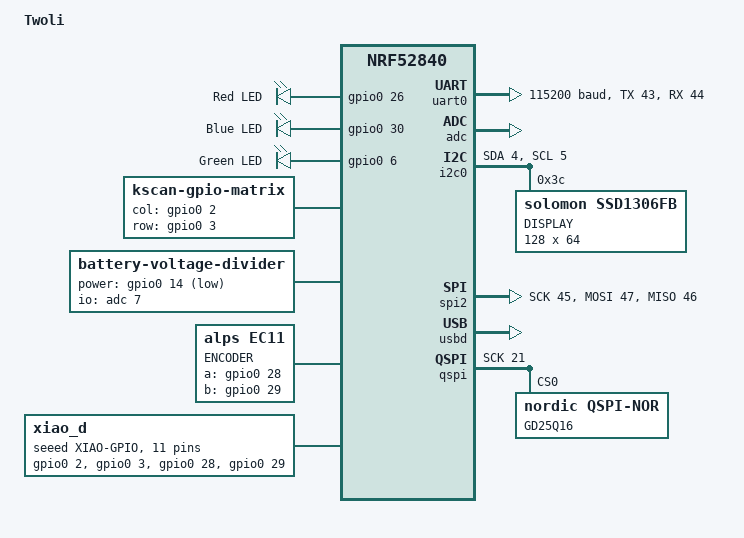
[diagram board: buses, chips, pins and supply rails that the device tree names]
/*
 * Copyright (c) 2023 The ZMK Contributors
 *
 * SPDX-License-Identifier: MIT
 */
 
/dts-v1/;
#include <nordic/nrf52840_qiaa.dtsi>

/ {

	model = "Twoli";
	compatible = "twoli";

	chosen {
		zephyr,console = &cdc_acm_uart;
		zephyr,shell-uart = &uart0;
		zephyr,uart-mcumgr = &uart0;
		zephyr,bt-mon-uart = &uart0;
		zephyr,bt-c2h-uart = &uart0;
		zephyr,sram = &sram0;
		zephyr,flash = &flash0;
		zephyr,code-partition = &code_partition;

        zephyr,display = &oled;
        zmk,kscan = &kscan0;
	};

	/* These aliases are provided for compatibility with samples */
	aliases {
		led0 = &led0;
		led1 = &led1;
		led2 = &led2;
	};

	leds {
		compatible = "gpio-leds";
		led0: led_0 {
			gpios = <&gpio0 26 0>;
			label = "Red LED";
		};
		led1: led_1 {
			gpios = <&gpio0 30 0>;
			label = "Blue LED";
		};
		led2: led_2 {
			gpios = <&gpio0 6 0>;
			label = "Green LED";
		};
	};

    kscan0: kscan_0 {
        compatible = "zmk,kscan-gpio-matrix";
        label = "KSCAN";
        diode-direction = "col2row";

        col-gpios
            = <&gpio0 2 GPIO_ACTIVE_HIGH>
            ;

        row-gpios
            = <&gpio0 3 (GPIO_ACTIVE_HIGH | GPIO_PULL_DOWN)>
            ;
    };

	vbatt: vbatt {
		compatible = "zmk,battery-voltage-divider";
		label = "BATTERY";
		io-channels = <&adc 7>;
		power-gpios = <&gpio0 14 (GPIO_OPEN_DRAIN | GPIO_ACTIVE_LOW)>;
		output-ohms = <510000>;
		full-ohms = <(1000000 + 510000)>;
	};

    encoder: encoder {
		compatible = "alps,ec11";
		label = "ENCODER";
		a-gpios = <&gpio0 28 (GPIO_ACTIVE_HIGH | GPIO_PULL_UP)>;
		b-gpios = <&gpio0 29 (GPIO_ACTIVE_HIGH | GPIO_PULL_UP)>;
		resolution = <4>;
		status = "enabled";
	};
	
	sensors {
		compatible = "zmk,keymap-sensors";
		sensors = <&encoder>;
	};

};

&gpiote {
	status = "okay";
};

&gpio0 {
	status = "okay";
};

&gpio1 {
	status = "okay";
};

&uart0 {
	status = "okay";
	compatible = "nordic,nrf-uart";
	current-speed = <115200>;
	tx-pin = <43>;
	rx-pin = <44>;
};

&adc {
	status = "okay";
};

&i2c0 {
	compatible = "nordic,nrf-twi";
	sda-pin = <4>;
	scl-pin = <5>;

    status = "okay";

    oled: ssd1306@3c {
        compatible = "solomon,ssd1306fb";
        reg = <0x3C>;
        label = "DISPLAY";
        width = <128>;
        height = <64>;
        segment-offset = <0>;
        page-offset = <0>;
        display-offset = <0>;
        multiplex-ratio = <63>;
	com-invdir;
    	segment-remap;
    	//com-sequential;
        prechargep = <0x22>;
    };
};

&spi2 {
	compatible = "nordic,nrf-spi";
	mosi-pin = <47>;
	miso-pin = <46>;
	sck-pin = <45>;
};

zephyr_udc0: &usbd {
	compatible = "nordic,nrf-usbd";
	status = "okay";
};

&qspi {
        status = "okay";
        sck-pin = <21>;
        io-pins = <20>, <24>, <22>, <23>;
        csn-pins = <25>;
	// TODO: VERIFY THESE!
        gd25q16: gd25q16@0 {
                /* NOTE: Quad mode not supported as driver does not handle
                 * QE bit setting in SR2. Ref. GD25Q16C, Rev 3.0, p. 12.
                 */
                compatible = "nordic,qspi-nor";
                reg = <0>;
                writeoc = "pp2o";
                readoc = "read2io";
                sck-frequency = <16000000>;
                label = "GD25Q16";
                jedec-id = [c8 40 15];
                size = <2097152>;
                has-dpd;
                t-enter-dpd = <20000>;
                t-exit-dpd = <20000>;
        };
};

&usbd {
	cdc_acm_uart: cdc_acm_uart {
		compatible = "zephyr,cdc-acm-uart";
		label = "CDC_ACM_0";
	};
};

&encoder {
    status = "okay";
};

&flash0 {

	partitions {
		compatible = "fixed-partitions";
		#address-cells = <1>;
		#size-cells = <1>;

		sd_partition: partition@0 {
			label = "softdevice";
			reg = <0x00000000 0x00026000>;
		};

		code_partition: partition@27000 {
			label = "code_partition";
			reg = <0x00027000 0x000c5000>;
		};

		/*
		 * The flash starting at 0x000ec000 and ending at
		 * 0x000f3fff is reserved for use by the application.
		 */

		/*
		 * Storage partition will be used by FCB/LittleFS/NVS
		 * if enabled.
		 */
		storage_partition: partition@ec000 {
			label = "storage";
			reg = <0x000ec000 0x00008000>;
		};

		boot_partition: partition@f4000 {
			label = "adafruit_boot";
			reg = <0x000f4000 0x0000c000>;
		};
	};
};

{
	xiao_d: connector {
		compatible = "seeed,xiao-gpio";
		#gpio-cells = <2>;
		gpio-map-mask = <0xffffffff 0xffffffc0>;
		gpio-map-pass-thru = <0 0x3f>;
		gpio-map
			= <0 0 &gpio0 2 0>		/* D0 */
			, <1 0 &gpio0 3 0>		/* D1 */
			, <2 0 &gpio0 28 0>		/* D2 */
			, <3 0 &gpio0 29 0>		/* D3 */
			, <4 0 &gpio0 4 0>		/* D4 */
			, <5 0 &gpio0 5 0>		/* D5 */
			, <6 0 &gpio1 11 0>		/* D6 */
			, <7 0 &gpio1 12 0>		/* D7 */
			, <8 0 &gpio1 13 0>		/* D8 */
			, <9 0 &gpio1 14 0>		/* D9 */
			, <10 0 &gpio1 15 0>		/* D10 */
			;
	};
};

xiao_spi: &spi2 {};
xiao_i2c: &i2c0 {};
xiao_serial: &uart0 {};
